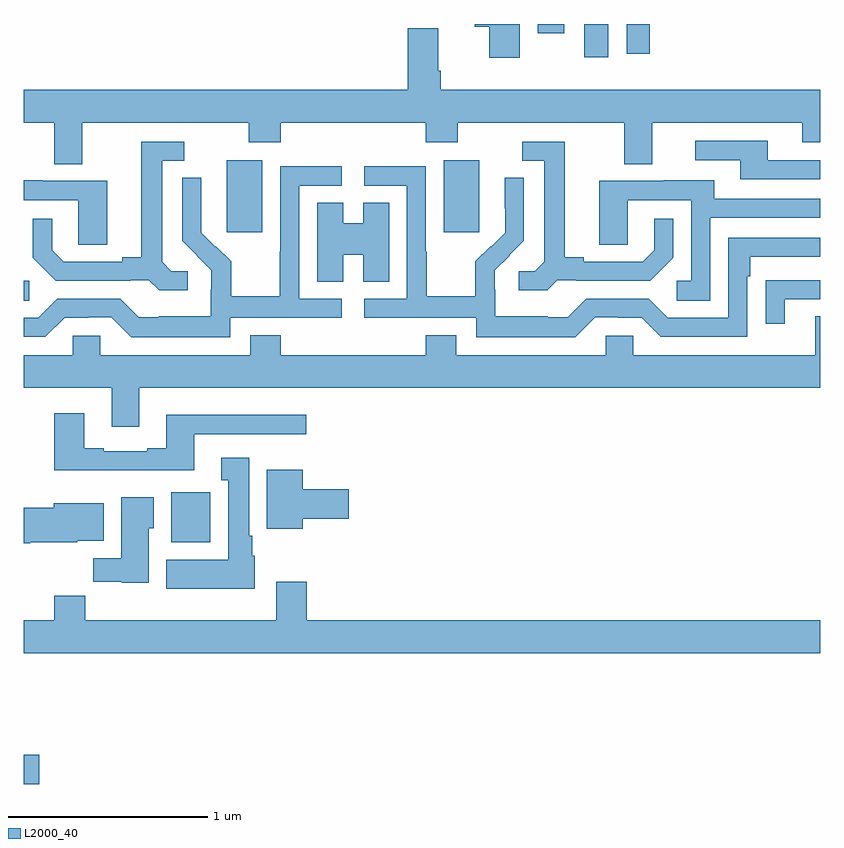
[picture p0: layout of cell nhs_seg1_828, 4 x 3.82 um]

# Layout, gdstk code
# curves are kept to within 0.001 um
import gdstk
lib = gdstk.Library(unit=1e-6, precision=1e-09)
def R(c, l, rs):  # rectangles x0, y0, x1, y1
    for r in rs: c.add(gdstk.rectangle(r[:2], r[2:], *l))
def P(c, l, *ps):  # polygons
    for p in ps: c.add(gdstk.Polygon(p, *l))
L2000_40 = (2000, 40)

nhs_seg1_828 = lib.new_cell('nhs_seg1_828')
R(nhs_seg1_828, L2000_40, [(155,576.383,155.077,576.53), (155.741,577.598,155.937,577.849), (155,578.809,155.029,578.91), (156.02,579.153,156.199,579.514), (157.109,579.153,157.288,579.514), (157.814,580.032,157.936,580.199), (158.028,580.05,158.144,580.199), (157.58,580.152,157.714,580.199)])
P(nhs_seg1_828, L2000_40, [(157.492,580.199),(157.265,580.199),(157.265,580.184),(157.337,580.184),(157.337,580.029),(157.492,580.029)],
  [(155.293,579.704),(156.13,579.704),(156.13,579.605),(156.29,579.605),(156.29,579.704),(157.019,579.704),(157.019,579.605),(157.179,579.605),(157.179,579.704),(158.015,579.704),(158.015,579.496),(158.155,579.496),(158.155,579.704),(158.909,579.704),(158.909,579.605),(159,579.605),(159,579.868),(157.094,579.868),(157.094,579.964),(157.081,579.964),(157.081,580.177),(156.929,580.177),(156.929,579.868),(155,579.868),(155,579.704),(155.153,579.704),(155.153,579.496),(155.293,579.496)],
  [(159,579.516),(158.737,579.516),(158.737,579.612),(158.373,579.612),(158.373,579.516),(158.597,579.516),(158.597,579.42),(159,579.42)],
  [(155.824,578.958),(155.742,578.958),(155.695,579.005),(155.695,579.513),(155.806,579.513),(155.806,579.609),(155.591,579.609),(155.591,579.029),(155.495,579.029),(155.495,579.006),(155.2,579.006),(155.143,579.063),(155.143,579.22),(155.046,579.22),(155.046,579.026),(155.162,578.91),(155.534,578.91),(155.534,578.913),(155.628,578.913),(155.68,578.861),(155.824,578.861)],
  [(157.68,578.913),(157.774,578.913),(157.774,578.91),(158.146,578.91),(158.262,579.026),(158.262,579.22),(158.165,579.22),(158.165,579.063),(158.108,579.006),(157.813,579.006),(157.813,579.029),(157.717,579.029),(157.717,579.609),(157.503,579.609),(157.503,579.513),(157.613,579.513),(157.613,579.005),(157.566,578.958),(157.485,578.958),(157.485,578.861),(157.628,578.861)],
  [(157.869,578.727),(157.985,578.727),(157.985,578.724),(158.103,578.724),(158.199,578.628),(158.634,578.628),(158.634,578.933),(158.647,578.933),(158.647,579.03),(159,579.03),(159,579.126),(158.538,579.126),(158.538,578.724),(158.235,578.724),(158.139,578.82),(157.824,578.82),(157.731,578.727),(157.631,578.727),(157.631,578.731),(157.368,578.731),(157.368,578.865),(157.366,578.865),(157.366,578.962),(157.512,579.11),(157.512,579.428),(157.416,579.428),(157.416,579.274),(157.418,579.274),(157.418,579.152),(157.347,579.081),(157.344,579.084),(157.267,579.007),(157.267,578.833),(157.023,578.833),(157.023,579.056),(157.02,579.056),(157.02,579.486),(156.711,579.486),(156.711,579.387),(156.924,579.387),(156.924,578.82),(156.711,578.82),(156.711,578.724),(157.272,578.724),(157.272,578.627),(157.769,578.627)],
  [(156.036,578.724),(156.598,578.724),(156.598,578.82),(156.384,578.82),(156.384,579.387),(156.598,579.387),(156.598,579.486),(156.288,579.486),(156.288,579.056),(156.286,579.056),(156.286,578.833),(156.041,578.833),(156.041,579.007),(155.964,579.084),(155.961,579.081),(155.891,579.152),(155.892,579.428),(155.796,579.428),(155.796,579.11),(155.942,578.962),(155.942,578.865),(155.94,578.865),(155.94,578.731),(155.677,578.731),(155.677,578.727),(155.577,578.727),(155.484,578.82),(155.169,578.82),(155.073,578.724),(155,578.724),(155,578.628),(155.109,578.628),(155.205,578.724),(155.324,578.724),(155.324,578.727),(155.439,578.727),(155.539,578.627),(156.036,578.627)],
  [(158.448,579.225),(159,579.225),(159,579.321),(158.467,579.321),(158.467,579.415),(158.213,579.415),(158.213,579.411),(157.889,579.411),(157.889,579.091),(158.034,579.091),(158.034,579.315),(158.352,579.315),(158.352,578.91),(158.28,578.91),(158.28,578.809),(158.448,578.809)],
  [(155.419,579.411),(155.095,579.411),(155.095,579.415),(155,579.415),(155,579.315),(155.274,579.315),(155.274,579.091),(155.419,579.091)],
  [(156.604,579.041),(156.704,579.041),(156.704,578.905),(156.835,578.905),(156.835,579.302),(156.704,579.302),(156.704,579.199),(156.604,579.199),(156.604,579.302),(156.473,579.302),(156.473,578.905),(156.604,578.905)],
  [(158.821,578.817),(159,578.817),(159,578.913),(158.827,578.913),(158.827,578.912),(158.725,578.912),(158.725,578.694),(158.821,578.694)],
  [(155.581,578.372),(159,578.372),(159,578.731),(158.975,578.731),(158.975,578.536),(158.061,578.536),(158.061,578.634),(157.923,578.634),(157.923,578.536),(157.171,578.536),(157.171,578.635),(157.019,578.635),(157.019,578.536),(156.29,578.536),(156.29,578.635),(156.137,578.635),(156.137,578.536),(155.385,578.536),(155.385,578.634),(155.247,578.634),(155.247,578.536),(155,578.536),(155,578.372),(155.441,578.372),(155.441,578.178),(155.581,578.178)],
  [(155.857,578.139),(156.418,578.139),(156.418,578.236),(155.717,578.236),(155.717,578.068),(155.621,578.068),(155.621,578.055),(155.401,578.055),(155.401,578.068),(155.305,578.068),(155.305,578.245),(155.153,578.245),(155.153,577.958),(155.857,577.958)],
  [(156.16,577.53),(156.148,577.53),(156.148,577.63),(156.133,577.63),(156.133,578.02),(155.993,578.02),(155.993,577.907),(156.026,577.907),(156.026,577.51),(155.717,577.51),(155.717,577.364),(156.16,577.364)],
  [(156.4,577.715),(156.631,577.715),(156.631,577.862),(156.4,577.862),(156.4,577.96),(156.221,577.96),(156.221,577.664),(156.4,577.664)],
  [(155.629,577.668),(155.653,577.668),(155.653,577.822),(155.489,577.822),(155.489,577.516),(155.35,577.516),(155.35,577.398),(155.493,577.398),(155.493,577.394),(155.629,577.394)],
  [(155.032,577.598),(155.268,577.598),(155.268,577.604),(155.401,577.604),(155.401,577.792),(155.15,577.792),(155.15,577.769),(155,577.769),(155,577.591),(155.032,577.591)],
  [(159,577.204),(156.422,577.204),(156.422,577.399),(156.269,577.399),(156.269,577.204),(155.309,577.204),(155.309,577.328),(155.153,577.328),(155.153,577.204),(155,577.204),(155,577.04),(159,577.04)])

lib.write_gds('nhs_seg1_828.gds')
